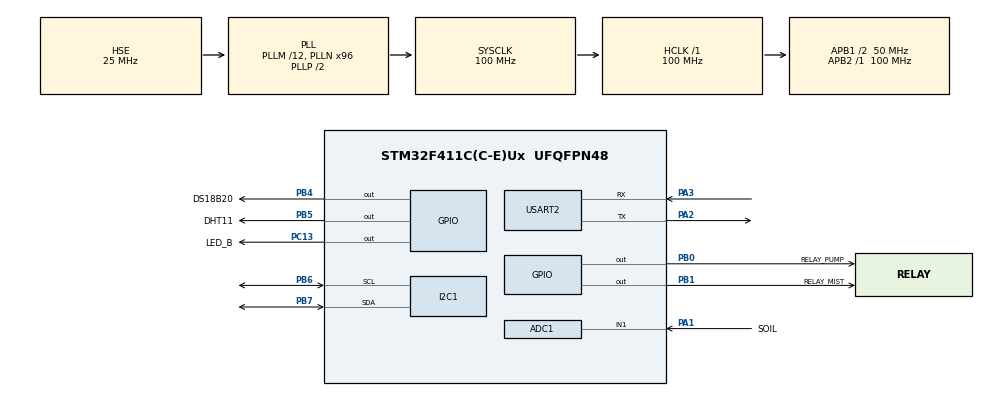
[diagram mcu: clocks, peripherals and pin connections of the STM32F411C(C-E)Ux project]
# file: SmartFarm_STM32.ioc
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ADC1.Channel-0\#ChannelRegularConversion=ADC_CHANNEL_1
ADC1.NbrOfConversionFlag=1
ADC1.Rank-0\#ChannelRegularConversion=1
ADC1.SamplingTime-0\#ChannelRegularConversion=ADC_SAMPLETIME_3CYCLES
ADC1.master=1
Dma.ADC1.1.Direction=DMA_PERIPH_TO_MEMORY
Dma.ADC1.1.FIFOMode=DMA_FIFOMODE_DISABLE
Dma.ADC1.1.Instance=DMA2_Stream0
Dma.ADC1.1.MemDataAlignment=DMA_MDATAALIGN_HALFWORD
Dma.ADC1.1.MemInc=DMA_MINC_ENABLE
Dma.ADC1.1.Mode=DMA_NORMAL
Dma.ADC1.1.PeriphDataAlignment=DMA_PDATAALIGN_HALFWORD
Dma.ADC1.1.PeriphInc=DMA_PINC_DISABLE
Dma.ADC1.1.Priority=DMA_PRIORITY_LOW
Dma.Request0=USART2_RX
Dma.Request1=ADC1
Dma.USART2_RX.0.Direction=DMA_PERIPH_TO_MEMORY
Dma.USART2_RX.0.FIFOMode=DMA_FIFOMODE_DISABLE
Dma.USART2_RX.0.Instance=DMA1_Stream5
Dma.USART2_RX.0.MemDataAlignment=DMA_MDATAALIGN_BYTE
Dma.USART2_RX.0.MemInc=DMA_MINC_ENABLE
Dma.USART2_RX.0.Mode=DMA_NORMAL
Dma.USART2_RX.0.PeriphDataAlignment=DMA_PDATAALIGN_BYTE
Dma.USART2_RX.0.PeriphInc=DMA_PINC_DISABLE
Dma.USART2_RX.0.Priority=DMA_PRIORITY_LOW
Mcu.Family=STM32F4
Mcu.Name=STM32F411C(C-E)Ux
Mcu.Package=UFQFPN48
NVIC.DMA1_Stream5_IRQn=true\:0\:0\:false\:false\:true\:false\:true\:true
NVIC.DMA2_Stream0_IRQn=true\:0\:0\:false\:false\:true\:false\:true\:true
NVIC.PriorityGroup=NVIC_PRIORITYGROUP_4
PA1.GPIO_Label=SOIL
PA1.Signal=ADCx_IN1
PA13.Mode=Trace_Asynchronous_SW
PA13.Signal=SYS_JTMS-SWDIO
PA14.Mode=Trace_Asynchronous_SW
PA14.Signal=SYS_JTCK-SWCLK
PA2.Mode=Asynchronous
PA2.Signal=USART2_TX
PA3.Mode=Asynchronous
PA3.Signal=USART2_RX
PB0.GPIO_Label=RELAY_PUMP
PB0.PinState=GPIO_PIN_SET
PB0.Signal=GPIO_Output
PB1.GPIO_Label=RELAY_MIST
PB1.PinState=GPIO_PIN_SET
PB1.Signal=GPIO_Output
PB3.Mode=Trace_Asynchronous_SW
PB3.Signal=SYS_JTDO-SWO
PB4.GPIO_Label=DS18B20
PB4.GPIO_ModeDefaultOutputPP=GPIO_MODE_OUTPUT_OD
PB4.GPIO_PuPd=GPIO_NOPULL
PB4.Signal=GPIO_Output
PB5.GPIO_Label=DHT11
PB5.GPIO_ModeDefaultOutputPP=GPIO_MODE_OUTPUT_OD
PB5.GPIO_PuPd=GPIO_NOPULL
PB5.Signal=GPIO_Output
PB6.Mode=I2C
PB6.Signal=I2C1_SCL
PB7.Mode=I2C
PB7.Signal=I2C1_SDA
PC13-ANTI_TAMP.GPIO_Label=LED_B
PC13-ANTI_TAMP.Signal=GPIO_Output
PC14-OSC32_IN.Mode=LSE-External-Oscillator
PC14-OSC32_IN.Signal=RCC_OSC32_IN
PC15-OSC32_OUT.Mode=LSE-External-Oscillator
PC15-OSC32_OUT.Signal=RCC_OSC32_OUT
PH0\ -\ OSC_IN.Mode=HSE-External-Oscillator
PH0\ -\ OSC_IN.Signal=RCC_OSC_IN
PH1\ -\ OSC_OUT.Mode=HSE-External-Oscillator
PH1\ -\ OSC_OUT.Signal=RCC_OSC_OUT
ProjectManager.HeapSize=0x200
ProjectManager.StackSize=0x400
ProjectManager.TargetToolchain=STM32CubeIDE
RCC.48MHZClocksFreq_Value=50000000
RCC.AHBFreq_Value=100000000
RCC.APB1CLKDivider=RCC_HCLK_DIV2
RCC.APB1Freq_Value=50000000
RCC.APB1TimFreq_Value=100000000
RCC.APB2Freq_Value=100000000
RCC.APB2TimFreq_Value=100000000
RCC.CortexFreq_Value=100000000
RCC.EnbaleCSS=true
RCC.HCLKFreq_Value=100000000
RCC.HSE_VALUE=25000000
RCC.HSI_VALUE=16000000
RCC.PLLM=12
RCC.PLLN=96
RCC.PLLSourceVirtual=RCC_PLLSOURCE_HSE
RCC.RCC_RTC_Clock_Source=RCC_RTCCLKSOURCE_LSE
RCC.RCC_RTC_Clock_SourceVirtual=RCC_RTCCLKSOURCE_LSE
RCC.SYSCLKFreq_VALUE=100000000
RCC.SYSCLKSource=RCC_SYSCLKSOURCE_PLLCLK
RCC.VCOOutputFreq_Value=200000000
SH.ADCx_IN1.0=ADC1_IN1,IN1
USART2.VirtualMode=VM_ASYNC
VP_RTC_VS_RTC_Activate.Mode=RTC_Enabled
VP_RTC_VS_RTC_Calendar.Mode=RTC_Calendar
board=custom

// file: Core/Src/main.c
/* USER CODE BEGIN Header */
/**
  ******************************************************************************
  * @file           : main.c
  * @brief          : Main program body
  ******************************************************************************
  * @attention
  *
  * Copyright (c) 2026 STMicroelectronics.
  * All rights reserved.
  *
  * This software is licensed under terms that can be found in the LICENSE file
  * in the root directory of this software component.
  * If no LICENSE file comes with this software, it is provided AS-IS.
  *
  ******************************************************************************
  */
/* USER CODE END Header */
#include "main.h"
#include "adc.h"
#include "dma.h"
#include "i2c.h"
#include "rtc.h"
#include "usart.h"
#include "gpio.h"

/* USER CODE BEGIN Includes */
#include <string.h>
#include <stdint.h>
#include <stdio.h>

/* Common */
#include "timing.h"
#include "debug_log.h"
#include "app_config.h"
#include "app_defs.h"

/* Device drivers */
#include "dht.h"
#include "bh1750.h"
#include "ds18b20.h"
#include "relay.h"
#include "sh1106.h"          /* For display driver functions */

/* Services */
#include "sensor_manager.h"
#include "relay_manager.h"
#include "rtc_manager.h"
#include "schedule_manager.h"

/* App */
#include "control_manager.h"
#include "display_manager.h"
#include "communication_manager.h"

/* USER CODE END Includes */

/* USER CODE BEGIN PM */

/* ============================================================================
 *   PRIVATE MACROS
 * ============================================================================ */

/** Main loop delay (ms) – prevents CPU hogging */
#define MAIN_LOOP_DELAY_MS     100U

/** Sensor read interval (must match SENSOR_READ_INTERVAL_MS from app_defs.h) */
#define SENSOR_READ_PERIOD_MS  SENSOR_READ_INTERVAL_MS
/* USER CODE END PM */

/* USER CODE BEGIN PV */
/* ============================================================================
 *   PRIVATE VARIABLES
 * ============================================================================ */

/* ----- Device handles (static) ----- */
static DhtHandle_t      g_dht_handle;
static Bh1750_t         g_bh1750_dev;
static Ds18b20Handle_t  g_ds18b20_handle;
static RelayHandle_t    g_relay_handle;

/* ----- Service instances (static) ----- */
static SensorManager_t      g_sensor_mgr;
static RelayManager_t       g_relay_mgr;
static RtcManager_t         g_rtc_mgr;
static ScheduleManager_t    g_schedule_mgr;

/* ----- App instances (static) ----- */
static ControlManager_t     g_control_mgr;
static DisplayManager_t     g_display_mgr;
static CommManager_t        g_comm_mgr;

/* ----- Display driver function table (for display_manager) ----- */
static DisplayDriverFns_t   g_display_driver;

/* ----- Status snapshots ----- */
static RelayStatus_t        g_relay_status;
static TimeOfDay_t          g_current_time;
static DateOfDay_t          g_last_date;

/* USER CODE END PV */

void SystemClock_Config(void);

/* USER CODE BEGIN 0 */
/* ============================================================================
 *   ADAPTER FUNCTIONS (for SensorManager)
 * ============================================================================ */

/**
 * @brief  Adapter for DHT11 – reads temperature and humidity.
 */
static SensorError_t dht11_adapter_read(void *handle, float *temp_out, float *hum_out);

/**
 * @brief  Adapter for BH1750 – reads illuminance.
 */
static SensorError_t bh1750_adapter_read(void *handle, float *lux_out);

/**
 * @brief  Adapter for DS18B20 – reads soil temperature.
 */
static SensorError_t ds18b20_adapter_read(void *handle, float *temp_out);

/**
 * @brief  Adapter for soil moisture (ADC) – reads LM393 sensor.
 */
static SensorError_t soil_adapter_read(void *handle, float *moisture_out);
/* ============================================================================
 *   COMMUNICATION CALLBACK (from ESP32)
 * ============================================================================ */

/**
 * @brief  Callback invoked by communication_manager when a valid command
 *         is received from the ESP32.
 */
static void on_command_received(const ParsedCommand_t *cmd, void *user_data);
/* USER CODE END 0 */

int main(void)
{

  /* MCU Configuration--------------------------------------------------------*/

  /* Reset of all peripherals, Initializes the Flash interface and the Systick. */
  HAL_Init();

  /* Configure the system clock */
  SystemClock_Config();

  /* Initialize all configured peripherals */
  MX_GPIO_Init();
  MX_DMA_Init();
  MX_ADC1_Init();
  MX_I2C1_Init();
  MX_RTC_Init();
  MX_USART2_UART_Init();
  /* USER CODE BEGIN 2 */
  /* ---- Custom initialisation ---- */
      timing_init();          /* DWT cycle counter */
      debug_log_init();       /* SWO or UART debug output */

      debug_log("\n=== SmartFarm STM32 Booting ===\n");

      /* ---- Device driver initialisation ---- */
      /* DHT11 */
      DhtConfig_t dht_cfg = {
          .data = { .port = DHT11_GPIO_Port, .pin = DHT11_Pin },
          .type = DHT_TYPE_DHT11
      };
      if (dht_init(&g_dht_handle, &dht_cfg) != DHT_OK)
      {
          debug_log("DHT11 init failed\n");
      }

      /* BH1750 */
      if (bh1750_init(&g_bh1750_dev, &hi2c1, BH1750_I2C_ADDR_DEFAULT,
                      BH1750_MODE_CONT_HIGH_RES) != ERR_NONE)
      {
          debug_log("BH1750 init failed\n");
      }

      /* DS18B20 */
      Ds18b20Config_t ds18_cfg = {
          .port = DS18B20_GPIO_Port,
          .pin  = DS18B20_Pin
      };
      if (ds18b20_init(&g_ds18b20_handle, &ds18_cfg) != ERR_NONE)
      {
          debug_log("DS18B20 init failed\n");
      }

      /* Relay driver */
      RelayPin_t pump_pin = { .port = RELAY_PUMP_GPIO_Port, .pin = RELAY_PUMP_Pin };
      RelayPin_t mist_pin = { .port = RELAY_MIST_GPIO_Port, .pin = RELAY_MIST_Pin };
      if (relay_init(&g_relay_handle, pump_pin, mist_pin) != ERR_NONE)
      {
          debug_log("Relay init failed\n");
      }

      /* ---- Service layers initialisation ---- */
      /* Sensor Manager */
      SensorManagerConfig_t sensor_cfg = {
          .dht11_handle   = &g_dht_handle,
          .dht11_read     = dht11_adapter_read,
          .bh1750_handle  = &g_bh1750_dev,
          .bh1750_read    = bh1750_adapter_read,
          .ds18b20_handle = &g_ds18b20_handle,
          .ds18b20_read   = ds18b20_adapter_read,
          .soil_handle    = NULL,          /* unused */
          .soil_read      = soil_adapter_read
      };
      if (sensor_manager_init(&g_sensor_mgr, &sensor_cfg) != ERR_NONE)
      {
          debug_log("Sensor Manager init failed\n");
      }

      /* Relay Manager */
      if (relay_manager_init(&g_relay_mgr, &g_relay_handle, 0U) != ERR_NONE)
      {
          debug_log("Relay Manager init failed\n");
      }

      /* RTC Manager */
      if (rtc_manager_init(&g_rtc_mgr, &hrtc) != ERR_NONE)
      {
          debug_log("RTC Manager init failed\n");
      }

      /* Schedule Manager */
      if (schedule_manager_init(&g_schedule_mgr, default_schedule, SCHEDULE_ENTRIES) != ERR_NONE)
      {
          debug_log("Schedule Manager init failed\n");
      }

      /* Initialise last-date for schedule daily reset */
      (void)rtc_manager_get_date(&g_rtc_mgr, &g_last_date);

      /* ---- Application layers initialisation ---- */
      /* Control Manager */
      ControlManagerConfig_t ctrl_cfg = {
          .sensor_mgr   = &g_sensor_mgr,
          .relay_mgr    = &g_relay_mgr,
          .schedule_mgr = &g_schedule_mgr,
          .rtc_mgr      = &g_rtc_mgr
      };
      if (control_manager_init(&g_control_mgr, &ctrl_cfg, MODE_AUTO) != ERR_NONE)
      {
          debug_log("Control Manager init failed\n");
      }

      /* Display Manager (using SH1106 driver functions) */
      g_display_driver.handle    = NULL;   /* SH1106 uses global state */
      g_display_driver.clear     = (disp_clear_fn_t)sh1106_fill;   /* clear frame buffer */
      g_display_driver.draw_str  = (disp_draw_str_fn_t)sh1106_puts;/* draw string */
      g_display_driver.draw_hline= NULL;   /* not used */
      g_display_driver.refresh   = (disp_refresh_fn_t)sh1106_update_screen;

      if (sh1106_init() != ERR_NONE)
      {
          debug_log("SH1106 init failed\n");
      }
      if (display_manager_init(&g_display_mgr, &g_display_driver, 500U) != ERR_NONE)
      {
          debug_log("Display Manager init failed\n");
      }
      display_manager_show_splash(&g_display_mgr);

      /* Communication Manager */
      if (comm_manager_init(&g_comm_mgr, &huart2, on_command_received, NULL) != ERR_NONE)
      {
          debug_log("Comm Manager init failed\n");
      }

      debug_log("System ready.\n");

      /* ---- Main super-loop ---- */
      uint32_t last_sensor_read_ms = 0U;
      uint32_t last_comm_process_ms = 0U;
      uint32_t now;

  /* USER CODE END 2 */

  /* Infinite loop */
  /* USER CODE BEGIN WHILE */
  while (1)
  {
	  now = timing_get_ms();

	  /* 1. Read sensors periodically */
	  if ((now - last_sensor_read_ms) >= SENSOR_READ_PERIOD_MS)
	  {
		  last_sensor_read_ms = now;

	      /* Read all sensors */
	      (void)sensor_manager_read_all(&g_sensor_mgr);

	      /* Run control logic */
	      control_manager_update(&g_control_mgr);

	      /* Get relay status */
	      (void)relay_manager_get_status(&g_relay_mgr, &g_relay_status);

	      /* Get current time */
          (void)rtc_manager_get_time(&g_rtc_mgr, &g_current_time);

          /* Check date rollover and reset schedule state at midnight */

		  DateOfDay_t today;
		  if (rtc_manager_get_date(&g_rtc_mgr, &today) == ERR_NONE)
		  {
			  if ((today.day != g_last_date.day) ||
					  (today.month != g_last_date.month) ||
					  (today.year != g_last_date.year))
			  {
				  schedule_manager_reset_daily(&g_schedule_mgr);
				  g_last_date = today;
				  debug_log("schedule_manager: daily reset (new day %u-%u-%u)\n",
											(unsigned)today.year,
											(unsigned)today.month,
											(unsigned)today.day);
			  }
		  }
	  }

      /* Update relay states and timings (pulse / hysteresis) */
	  relay_manager_update(&g_relay_mgr);
	  (void)relay_manager_get_status(&g_relay_mgr, &g_relay_status);

	  /* 2. Process incoming UART commands (non-blocking) */
	  if ((now - last_comm_process_ms) >= 10U)   /* check every 10 ms */
	  {
		  last_comm_process_ms = now;
	      comm_manager_process(&g_comm_mgr);
	  }

	  /* 3. Update display (rate-limited by display_manager) */
	  {
	  const SensorData_t *sensor_data;
	  ControlMode_t mode;
	  (void)sensor_manager_get_data(&g_sensor_mgr, &sensor_data);
	  (void)control_manager_get_mode(&g_control_mgr, &mode);

	  display_manager_update(&g_display_mgr,
	                                     sensor_data,
	                                     &g_relay_status,
	                                     mode,
	                                     &g_current_time,
										 &g_last_date);
	   }

	   /* 4. Send sensor data over UART (periodic, every sensor read period) */
	   if ((now - last_sensor_read_ms) < 50U)   /* just after sensor read */
	          {
	              const SensorData_t *sensor_data;
	              ControlMode_t mode;
	              (void)sensor_manager_get_data(&g_sensor_mgr, &sensor_data);
	              (void)control_manager_get_mode(&g_control_mgr, &mode);

	              (void)comm_manager_send_data(&g_comm_mgr, sensor_data,
	                                           &g_relay_status, mode);
	   }

	   /* 5. Small delay to let other tasks run */
	   HAL_Delay(MAIN_LOOP_DELAY_MS);
    /* USER CODE END WHILE */

  }
}

void SystemClock_Config(void)
{
  RCC_OscInitTypeDef RCC_OscInitStruct = {0};
  RCC_ClkInitTypeDef RCC_ClkInitStruct = {0};

  /** Configure the main internal regulator output voltage
  */
  __HAL_RCC_PWR_CLK_ENABLE();
  __HAL_PWR_VOLTAGESCALING_CONFIG(PWR_REGULATOR_VOLTAGE_SCALE1);

  /** Initializes the RCC Oscillators according to the specified parameters
  * in the RCC_OscInitTypeDef structure.
  */
  RCC_OscInitStruct.OscillatorType = RCC_OSCILLATORTYPE_HSE|RCC_OSCILLATORTYPE_LSE;
  RCC_OscInitStruct.HSEState = RCC_HSE_ON;
  RCC_OscInitStruct.LSEState = RCC_LSE_ON;
  RCC_OscInitStruct.PLL.PLLState = RCC_PLL_ON;
  RCC_OscInitStruct.PLL.PLLSource = RCC_PLLSOURCE_HSE;
  RCC_OscInitStruct.PLL.PLLM = 12;
  RCC_OscInitStruct.PLL.PLLN = 96;
  RCC_OscInitStruct.PLL.PLLP = RCC_PLLP_DIV2;
  RCC_OscInitStruct.PLL.PLLQ = 4;
  if (HAL_RCC_OscConfig(&RCC_OscInitStruct) != HAL_OK)
  {
    Error_Handler();
  }

  /** Initializes the CPU, AHB and APB buses clocks
  */
  RCC_ClkInitStruct.ClockType = RCC_CLOCKTYPE_HCLK|RCC_CLOCKTYPE_SYSCLK
                              |RCC_CLOCKTYPE_PCLK1|RCC_CLOCKTYPE_PCLK2;
  RCC_ClkInitStruct.SYSCLKSource = RCC_SYSCLKSOURCE_PLLCLK;
  RCC_ClkInitStruct.AHBCLKDivider = RCC_SYSCLK_DIV1;
  RCC_ClkInitStruct.APB1CLKDivider = RCC_HCLK_DIV2;
  RCC_ClkInitStruct.APB2CLKDivider = RCC_HCLK_DIV1;

  if (HAL_RCC_ClockConfig(&RCC_ClkInitStruct, FLASH_LATENCY_3) != HAL_OK)
  {
    Error_Handler();
  }
}

/* USER CODE BEGIN 4 */
/* ============================================================================
 *   ADAPTER FUNCTIONS (for SensorManager)
 * ============================================================================ */

/**
 * @brief  Adapter for DHT11 – reads temperature and humidity.
 */
static SensorError_t dht11_adapter_read(void *handle, float *temp_out, float *hum_out)
{
    if ((handle == NULL) || (temp_out == NULL) || (hum_out == NULL))
    {
        return SENSOR_NOT_FOUND;
    }

    DhtHandle_t *dht = (DhtHandle_t *)handle;
    DhtReading_t reading;

    DhtStatus_t status = dht_read(dht, &reading);
    if (status == DHT_OK)
    {
        *temp_out = (float)reading.temperature_x10 / 10.0f;
        *hum_out  = (float)reading.humidity_x10    / 10.0f;
        return SENSOR_OK;
    }
    else if (status == DHT_ERR_TIMEOUT)
    {
        return SENSOR_TIMEOUT;
    }
    else if (status == DHT_ERR_CHECKSUM)
    {
        return SENSOR_CRC_ERROR;
    }
    else
    {
        return SENSOR_NOT_FOUND;
    }
}

/**
 * @brief  Adapter for BH1750 – reads illuminance.
 */
static SensorError_t bh1750_adapter_read(void *handle, float *lux_out)
{
    if ((handle == NULL) || (lux_out == NULL))
    {
        return SENSOR_NOT_FOUND;
    }

    Bh1750_t *dev = (Bh1750_t *)handle;
    ErrorCode_t err = bh1750_read_lux(dev, lux_out);
    if (err == ERR_NONE)
    {
        return SENSOR_OK;
    }
    return SENSOR_TIMEOUT;
}

/**
 * @brief  Adapter for DS18B20 – reads soil temperature.
 */
static SensorError_t ds18b20_adapter_read(void *handle, float *temp_out)
{
    if ((handle == NULL) || (temp_out == NULL))
    {
        return SENSOR_NOT_FOUND;
    }

    Ds18b20Handle_t *dev = (Ds18b20Handle_t *)handle;
    SensorError_t err = ds18b20_read_blocking(dev, temp_out);
    return err;
}

/**
 * @brief  Adapter for soil moisture (ADC) – reads LM393 sensor.
 */
static SensorError_t soil_adapter_read(void *handle, float *moisture_out)
{
    (void)handle;   /* unused – ADC is global */

    if (moisture_out == NULL)
    {
        return SENSOR_NOT_FOUND;
    }

    /* Start ADC conversion (blocking) */
    HAL_ADC_Start(&hadc1);
    if (HAL_ADC_PollForConversion(&hadc1, 100U) != HAL_OK)
    {
        HAL_ADC_Stop(&hadc1);
        return SENSOR_TIMEOUT;
    }

    uint32_t adc_raw = HAL_ADC_GetValue(&hadc1);
    HAL_ADC_Stop(&hadc1);

    /* Convert raw to percentage (0–100%) – calibration values from app_defs.h */
    const uint32_t adc_dry = 3000U;   /* measured in air */
    const uint32_t adc_wet = 1000U;   /* measured in water */

    float percent;
    if (adc_raw >= adc_dry)
    {
        percent = 0.0f;
    }
    else if (adc_raw <= adc_wet)
    {
        percent = 100.0f;
    }
    else
    {
        percent = ((float)(adc_dry - adc_raw) / (float)(adc_dry - adc_wet)) * 100.0f;
    }

    /* Clamp */
    if (percent < 0.0f)   percent = 0.0f;
    if (percent > 100.0f) percent = 100.0f;

    *moisture_out = percent;
    return SENSOR_OK;
}
/* ============================================================================
 *   COMMUNICATION CALLBACK (from ESP32)
 * ============================================================================ */

/**
 * @brief  Callback invoked by communication_manager when a valid command
 *         is received from the ESP32.
 */
static void on_command_received(const ParsedCommand_t *cmd, void *user_data)
{
    (void)user_data;   /* unused */

    switch (cmd->type)
    {
        case CMD_PUMP_ON:
            debug_log("CMD: Pump ON\n");
            /* Ensure manual mode active so manual_set is accepted */
            (void)control_manager_set_mode(&g_control_mgr, MODE_MANUAL);
            (void)control_manager_manual_set(&g_control_mgr, RELAY_ID_PUMP, RELAY_ON);
            break;

        case CMD_PUMP_OFF:
            debug_log("CMD: Pump OFF\n");
            (void)control_manager_set_mode(&g_control_mgr, MODE_MANUAL);
            (void)control_manager_manual_set(&g_control_mgr, RELAY_ID_PUMP, RELAY_OFF);
            break;

        case CMD_MIST_ON:
            debug_log("CMD: Mist ON\n");
            (void)control_manager_set_mode(&g_control_mgr, MODE_MANUAL);
            (void)control_manager_manual_set(&g_control_mgr, RELAY_ID_MIST, RELAY_ON);
            break;

        case CMD_MIST_OFF:
            debug_log("CMD: Mist OFF\n");
            (void)control_manager_set_mode(&g_control_mgr, MODE_MANUAL);
            (void)control_manager_manual_set(&g_control_mgr, RELAY_ID_MIST, RELAY_OFF);
            break;

        case CMD_AUTO_ENABLE:
            debug_log("CMD: Auto enable\n");
            (void)control_manager_set_mode(&g_control_mgr, MODE_AUTO);
            break;

        case CMD_AUTO_DISABLE:
            debug_log("CMD: Auto disable → Manual\n");
            (void)control_manager_set_mode(&g_control_mgr, MODE_MANUAL);
            break;

        case CMD_SET_TIME:
            debug_log("CMD: Set time %02u:%02u:%02u\n", cmd->hour, cmd->minute, cmd->second);
            {
                TimeOfDay_t t = { .hour = cmd->hour, .minute = cmd->minute, .second = cmd->second };
                (void)rtc_manager_set_time(&g_rtc_mgr, &t);
            }
            break;

        default:
            debug_log("CMD: Unknown (ignored)\n");
            break;
    }
}

/* USER CODE END 4 */

void Error_Handler(void)
{
  /* USER CODE BEGIN Error_Handler_Debug */
  /* User can add his own implementation to report the HAL error return state */
  __disable_irq();
  while (1)
  {
      LL_GPIO_TogglePin(LED_B_GPIO_Port, LED_B_Pin);
      HAL_Delay(200);
  }
  /* USER CODE END Error_Handler_Debug */
}
